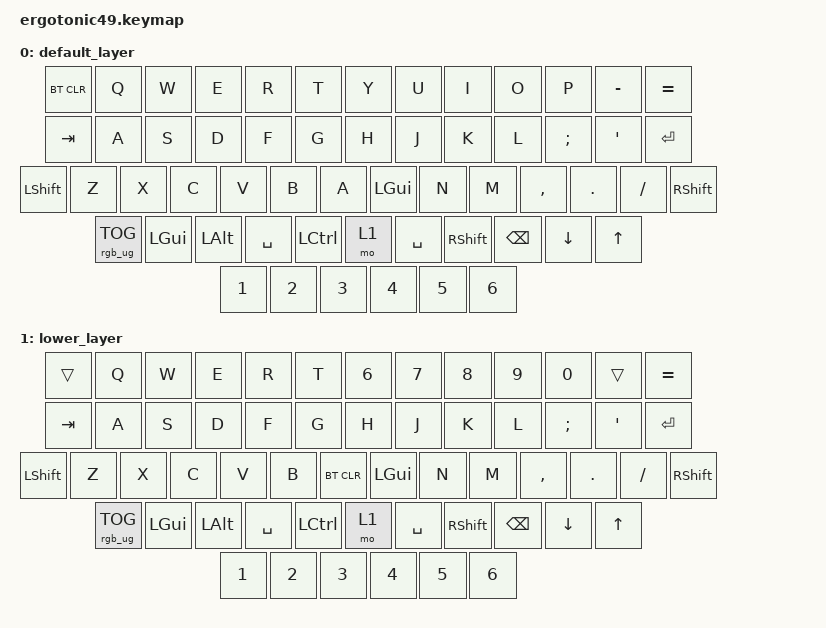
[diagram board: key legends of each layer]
/*
 * Copyright (c) 2021 The ZMK Contributors
 *
 * SPDX-License-Identifier: MIT
 */

#include <behaviors.dtsi>
#include <dt-bindings/zmk/keys.h>
#include <dt-bindings/zmk/bt.h>
#include <dt-bindings/zmk/rgb.h>
#include <dt-bindings/zmk/outputs.h>
#include <dt-bindings/zmk/ext_power.h>


/*

        RC(0,0) RC(0,1) RC(0,2) RC(0,3) RC(0,4) RC(0,5)                         RC(0,8) RC(0,9) RC(0,10) RC(0,11) RC(0,12) RC(0,13)   
        RC(1,0) RC(1,1) RC(1,2) RC(1,3) RC(1,4) RC(1,5)                         RC(1,8) RC(1,9) RC(1,10) RC(1,11) RC(1,12) RC(1,13) 
        RC(2,0) RC(2,1) RC(2,2) RC(2,3) RC(2,4) RC(2,5) RC(2,6)         RC(2,7) RC(2,8) RC(2,9) RC(2,10) RC(2,11) RC(2,12) RC(2,13) 
 RC(3,0)	                RC(3,3) RC(3,4) RC(3,5) RC(3,6) RC(1,7)	RC(3,7) RC(3,8) RC(3,9) RC(3,10) 	                    RC(3,12)
                                                                                                                                    RC(3,13)
                                                                                                                                    
Default layer:                                                                                                                                    
       | TAB   |   Q   |   W   |   E   |   R   |   T   |                        |   Y   |   U   |   I   |   O   |   P   |   T   |  
       | CAPS  |   A   |   S   |   D   |   F   |   G   |                        |   H   |   J   |   K   |   L   |   ;   |   T   | 
       | LSHIFT|   Z   |   X   |   C   |   V   |   B   |LAYER1 |       |   T    |   N   |   M   |   ,   |   .   |   /   |   T   |
 | ESC |	               |   E   |   R   |   T   |   T   | SPACE |   E    |   R   |   T   |   T   |	                | BCSPC |
                                                                                                                                |  ENT  | 
                                                                                                                                
Lower layer:                                                                                                                                   
       | TAB   |   Q   |   W   |   E   |   R   |   T   |                        |   Y   |   U   |   I   |   O   |   P   |   T   |  
       | CAPS  |   A   |   S   |   D   |   F   |   G   |                        |   H   |   J   |   K   |   L   |   ;   |   T   | 
       | LSHIFT|   Z   |   X   |   C   |   V   |   B   |LAYER0 |       |   T    |   N   |   M   |   ,   |   .   |   /   |   T   |
 | ESC |	               |   E   |   R   |   T   |   T   | SPACE |   E    |   R   |   T   |   T   |	                | BCSPC |
                                                                                                                                |  ENT  |                                                                                                                         
                                                                                                                                
                                                                                                                                    
*/
/ {
        keymap {
                compatible = "zmk,keymap";
                default_layer {
                bindings = <
&bt BT_CLR   &kp Q &kp W &kp E &kp R &kp T                                 &kp Y &kp U &kp I     &kp O   &kp P     &kp MINUS &kp EQUAL
&kp TAB   &kp A &kp S &kp D &kp F &kp G                                 &kp H &kp J &kp K     &kp L   &kp SEMI  &kp SQT   &kp ENTER                    
&kp LSHFT &kp Z &kp X &kp C &kp V &kp B    &kp A            &kp LGUI  &kp N &kp M &kp COMMA &kp DOT &kp SLASH &kp RSHFT
&rgb_ug RGB_TOG                   &kp LGUI &kp LALT &kp SPACE &kp LCTRL &mo 1 &kp SPACE &kp RSHFT &kp BSPC &kp DOWN &kp UP 
&kp N1 &kp N2 &kp N3 &kp N4 &kp N5 &kp N6
                                >;
                                
                        };
                        
               lower_layer {

                        bindings = <
&trans   &kp Q &kp W &kp E &kp R &kp T                                 &kp N6    &kp N7    &kp N8    &kp N9    &kp N0     &trans &kp EQUAL
&kp TAB   &kp A &kp S &kp D &kp F &kp G                                 &kp H &kp J &kp K     &kp L   &kp SEMI  &kp SQT   &kp ENTER                    
&kp LSHFT &kp Z &kp X &kp C &kp V &kp B    &bt BT_CLR            &kp LGUI  &kp N &kp M &kp COMMA &kp DOT &kp SLASH &kp RSHFT
&rgb_ug RGB_TOG                   &kp LGUI &kp LALT &kp SPACE &kp LCTRL &mo 1 &kp SPACE &kp RSHFT &kp BSPC &kp DOWN &kp UP 
&kp N1 &kp N2 &kp N3 &kp N4 &kp N5 &kp N6
                                >;
                                
                        };
        };
};
